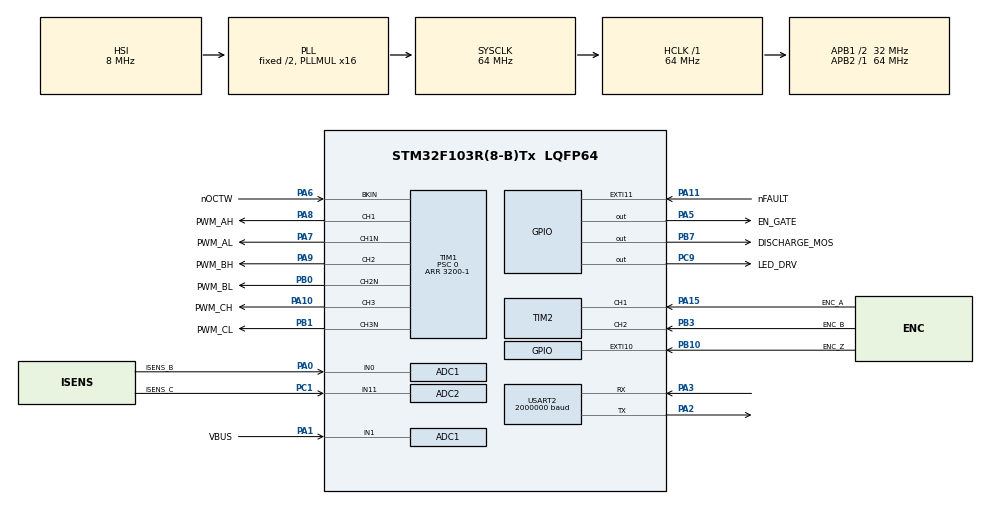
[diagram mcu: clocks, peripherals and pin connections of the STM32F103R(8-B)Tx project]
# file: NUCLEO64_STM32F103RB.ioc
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ADC1.Channel-2\#ChannelInjectedConversion=ADC_CHANNEL_0
ADC1.Channel-3\#ChannelInjectedConversion=ADC_CHANNEL_1
ADC1.ContinuousConvMode=ENABLE
ADC1.EnableInjectedConversion=ENABLE
ADC1.EnableRegularConversion=DISABLE
ADC1.ExternalTrigInjecConv=ADC_EXTERNALTRIGINJECCONV_T1_TRGO
ADC1.InjNumberOfConversion=2
ADC1.InjectedOffset-2\#ChannelInjectedConversion=0
ADC1.InjectedOffset-3\#ChannelInjectedConversion=0
ADC1.Rank-2\#ChannelInjectedConversion=1
ADC1.Rank-3\#ChannelInjectedConversion=2
ADC1.SamplingTime-2\#ChannelInjectedConversion=ADC_SAMPLETIME_7CYCLES_5
ADC1.SamplingTime-3\#ChannelInjectedConversion=ADC_SAMPLETIME_7CYCLES_5
ADC1.master=1
ADC2.Channel-1\#ChannelInjectedConversion=ADC_CHANNEL_11
ADC2.ContinuousConvMode=ENABLE
ADC2.EnableInjectedConversion=ENABLE
ADC2.EnableRegularConversion=DISABLE
ADC2.ExternalTrigInjecConv=ADC_EXTERNALTRIGINJECCONV_T1_TRGO
ADC2.InjNumberOfConversion=1
ADC2.InjectedOffset-1\#ChannelInjectedConversion=0
ADC2.Rank-1\#ChannelInjectedConversion=1
ADC2.SamplingTime-1\#ChannelInjectedConversion=ADC_SAMPLETIME_7CYCLES_5
Dma.Request0=USART2_TX
Dma.Request1=USART2_RX
Dma.USART2_RX.1.Direction=DMA_PERIPH_TO_MEMORY
Dma.USART2_RX.1.Instance=DMA1_Channel6
Dma.USART2_RX.1.MemDataAlignment=DMA_MDATAALIGN_BYTE
Dma.USART2_RX.1.MemInc=DMA_MINC_ENABLE
Dma.USART2_RX.1.Mode=DMA_NORMAL
Dma.USART2_RX.1.PeriphDataAlignment=DMA_PDATAALIGN_BYTE
Dma.USART2_RX.1.PeriphInc=DMA_PINC_DISABLE
Dma.USART2_RX.1.Priority=DMA_PRIORITY_LOW
Dma.USART2_TX.0.Direction=DMA_MEMORY_TO_PERIPH
Dma.USART2_TX.0.Instance=DMA1_Channel7
Dma.USART2_TX.0.MemDataAlignment=DMA_MDATAALIGN_BYTE
Dma.USART2_TX.0.MemInc=DMA_MINC_ENABLE
Dma.USART2_TX.0.Mode=DMA_NORMAL
Dma.USART2_TX.0.PeriphDataAlignment=DMA_PDATAALIGN_BYTE
Dma.USART2_TX.0.PeriphInc=DMA_PINC_DISABLE
Dma.USART2_TX.0.Priority=DMA_PRIORITY_LOW
Mcu.Family=STM32F1
Mcu.Name=STM32F103R(8-B)Tx
Mcu.Package=LQFP64
NVIC.ADC1_2_IRQn=true\:1\:0\:true\:false\:true\:true\:true
NVIC.DMA1_Channel6_IRQn=true\:4\:0\:true\:false\:true\:false\:true
NVIC.DMA1_Channel7_IRQn=true\:3\:0\:true\:false\:true\:false\:true
NVIC.EXTI15_10_IRQn=true\:6\:0\:true\:false\:true\:true\:true
NVIC.PriorityGroup=NVIC_PRIORITYGROUP_4
NVIC.TIM1_BRK_IRQn=true\:0\:0\:false\:false\:true\:true\:true
NVIC.USART2_IRQn=true\:5\:0\:true\:false\:true\:true\:true
PA0-WKUP.GPIO_Label=ISENS_B
PA0-WKUP.Signal=ADCx_IN0
PA1.GPIO_Label=VBUS
PA1.Signal=ADCx_IN1
PA10.GPIO_Label=PWM_CH
PA10.Signal=S_TIM1_CH3
PA11.GPIO_Label=nFAULT
PA11.GPIO_PuPd=GPIO_PULLUP
PA11.Signal=GPXTI11
PA13.Mode=Serial_Wire
PA13.Signal=SYS_JTMS-SWDIO
PA14.Mode=Serial_Wire
PA14.Signal=SYS_JTCK-SWCLK
PA15.GPIO_Label=ENC_A
PA15.Signal=S_TIM2_CH1_ETR
PA2.Mode=Asynchronous
PA2.Signal=USART2_TX
PA3.Mode=Asynchronous
PA3.Signal=USART2_RX
PA5.GPIO_Label=EN_GATE
PA5.Signal=GPIO_Output
PA6.GPIO_Label=nOCTW
PA6.GPIO_PuPd=GPIO_PULLUP
PA6.Mode=Activate-Break-Input
PA6.Signal=TIM1_BKIN
PA7.GPIO_Label=PWM_AL
PA7.Mode=PWM Generation1 CH1 CH1N
PA7.Signal=TIM1_CH1N
PA8.GPIO_Label=PWM_AH
PA8.Signal=S_TIM1_CH1
PA9.GPIO_Label=PWM_BH
PA9.Signal=S_TIM1_CH2
PB0.GPIO_Label=PWM_BL
PB0.Mode=PWM Generation2 CH2 CH2N
PB0.Signal=TIM1_CH2N
PB1.GPIO_Label=PWM_CL
PB1.Mode=PWM Generation3 CH3 CH3N
PB1.Signal=TIM1_CH3N
PB10.GPIO_Label=ENC_Z
PB10.Signal=GPXTI10
PB3.GPIO_Label=ENC_B
PB3.Signal=S_TIM2_CH2
PB7.GPIO_Label=DISCHARGE_MOS
PB7.Signal=GPIO_Output
PC1.GPIO_Label=ISENS_C
PC1.Signal=ADCx_IN11
PC9.GPIO_Label=LED_DRV
PC9.Signal=GPIO_Output
ProjectManager.HeapSize=0x200
ProjectManager.StackSize=0x400
ProjectManager.TargetToolchain=MDK-ARM V5.27
RCC.ADCPresc=RCC_ADCPCLK2_DIV6
RCC.AHBFreq_Value=64000000
RCC.APB1CLKDivider=RCC_HCLK_DIV2
RCC.APB1Freq_Value=32000000
RCC.APB1TimFreq_Value=64000000
RCC.APB2Freq_Value=64000000
RCC.APB2TimFreq_Value=64000000
RCC.HCLKFreq_Value=64000000
RCC.PLLMUL=RCC_PLL_MUL16
RCC.SYSCLKFreq_VALUE=64000000
RCC.SYSCLKSource=RCC_SYSCLKSOURCE_PLLCLK
RCC.USBFreq_Value=64000000
SH.ADCx_IN0.0=ADC1_IN0,IN0
SH.ADCx_IN1.0=ADC1_IN1,IN1
SH.ADCx_IN11.0=ADC2_IN11,IN11
SH.S_TIM1_CH1.0=TIM1_CH1,PWM Generation1 CH1 CH1N
SH.S_TIM1_CH2.0=TIM1_CH2,PWM Generation2 CH2 CH2N
SH.S_TIM1_CH3.0=TIM1_CH3,PWM Generation3 CH3 CH3N
SH.S_TIM2_CH1_ETR.0=TIM2_CH1,Encoder_Interface
SH.S_TIM2_CH2.0=TIM2_CH2,Encoder_Interface
TIM1.AutoReloadPreload=TIM_AUTORELOAD_PRELOAD_ENABLE
TIM1.BreakPolarity=TIM_BREAKPOLARITY_LOW
TIM1.Channel-PWM\ Generation1\ CH1\ CH1N=TIM_CHANNEL_1
TIM1.Channel-PWM\ Generation2\ CH2\ CH2N=TIM_CHANNEL_2
TIM1.Channel-PWM\ Generation3\ CH3\ CH3N=TIM_CHANNEL_3
TIM1.Channel-PWM\ Generation4\ No\ Output=TIM_CHANNEL_4
TIM1.CounterMode=TIM_COUNTERMODE_CENTERALIGNED1
TIM1.DeadTime=42
TIM1.OCMode_PWM-PWM\ Generation4\ No\ Output=TIM_OCMODE_PWM2
TIM1.Period=3200-1
TIM1.Prescaler=0
TIM1.Pulse-PWM\ Generation4\ No\ Output=3200-2
TIM1.RepetitionCounter=1
TIM1.TIM_MasterOutputTrigger=TIM_TRGO_OC4REF
TIM2.EncoderMode=TIM_ENCODERMODE_TI12
TIM2.IC1Filter=2
TIM2.IC2Filter=2
TIM3.Prescaler=7
USART2.BaudRate=2000000
USART2.VirtualMode=VM_ASYNC
VP_CRC_VS_CRC.Mode=CRC_Activate
VP_TIM1_VS_no_output4.Mode=PWM Generation4 No Output
VP_TIM3_VS_ClockSourceINT.Mode=Internal
board=custom

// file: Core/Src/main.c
/* USER CODE BEGIN Header */
/**
  ******************************************************************************
  * @file           : main.c
  * @brief          : Main program body
  ******************************************************************************
  * @attention
  *
  * <h2><center>&copy; Copyright (c) 2021 STMicroelectronics.
  * All rights reserved.</center></h2>
  *
  * This software component is licensed by ST under BSD 3-Clause license,
  * the "License"; You may not use this file except in compliance with the
  * License. You may obtain a copy of the License at:
  *                        opensource.org/licenses/BSD-3-Clause
  *
  ******************************************************************************
  */
/* USER CODE END Header */
#include "main.h"

/* USER CODE BEGIN Includes */
#include "bsp.h"
/* USER CODE END Includes */

ADC_HandleTypeDef hadc1;
ADC_HandleTypeDef hadc2;

CRC_HandleTypeDef hcrc;

TIM_HandleTypeDef htim1;
TIM_HandleTypeDef htim2;
TIM_HandleTypeDef htim3;

UART_HandleTypeDef huart2;
DMA_HandleTypeDef hdma_usart2_tx;
DMA_HandleTypeDef hdma_usart2_rx;

void SystemClock_Config(void);
static void MX_GPIO_Init(void);
static void MX_DMA_Init(void);
static void MX_ADC1_Init(void);
static void MX_ADC2_Init(void);
static void MX_TIM1_Init(void);
static void MX_TIM2_Init(void);
static void MX_TIM3_Init(void);
static void MX_USART2_UART_Init(void);
static void MX_CRC_Init(void);

/* USER CODE BEGIN 0 */
uint8_t aRxBuffer[100];
/* USER CODE END 0 */

int main(void)
{

  /* MCU Configuration--------------------------------------------------------*/

  /* Reset of all peripherals, Initializes the Flash interface and the Systick. */
  HAL_Init();

  /* Configure the system clock */
  SystemClock_Config();

  /* Initialize all configured peripherals */
  MX_GPIO_Init();
  MX_DMA_Init();
  MX_ADC1_Init();
  MX_ADC2_Init();
  MX_TIM1_Init();
  MX_TIM2_Init();
  MX_TIM3_Init();
  MX_USART2_UART_Init();
  MX_CRC_Init();
  /* USER CODE BEGIN 2 */
	HAL_ADCEx_Calibration_Start( &hadc1);
	HAL_ADCEx_Calibration_Start( &hadc2);
	__HAL_ADC_CLEAR_FLAG( &hadc1, ADC_FLAG_JEOC);
	__HAL_ADC_CLEAR_FLAG( &hadc2, ADC_FLAG_JEOC);
	HAL_ADCEx_InjectedStart_IT( &hadc1);
	HAL_ADCEx_InjectedStart( &hadc2);

	HAL_Delay(10);

	__HAL_TIM_CLEAR_FLAG( &htim1, TIM_FLAG_BREAK);
	HAL_TIM_Base_Start( &htim1);
	HAL_TIM_PWM_Start( &htim1, TIM_CHANNEL_4);

	__HAL_TIM_CLEAR_FLAG( &htim2, TIM_FLAG_BREAK);
	HAL_TIM_Encoder_Start( &htim2, TIM_CHANNEL_ALL);

	__HAL_TIM_CLEAR_FLAG( &htim3, TIM_FLAG_BREAK);
	HAL_TIM_Base_Start( &htim3);

	HAL_UART_Receive_DMA( &huart2, aRxBuffer, 3*2+2);
	__HAL_UART_ENABLE_IT( &huart2, UART_IT_IDLE);
	__HAL_UART_CLEAR_IDLEFLAG( &huart2);
	__HAL_UART_DISABLE_IT( &huart2, UART_IT_TC);
	__HAL_UART_CLEAR_FLAG( &huart2, UART_FLAG_TC);

	HAL_Delay(100);
  /* USER CODE END 2 */

  /* Infinite loop */
  /* USER CODE BEGIN WHILE */
  while (1)
  {

	/**********************    Fault protection    ***********************/
	if( mc_info.vbus < 10240)				// 10240 -- ufix16_en9 20.0V
	{
		mc_info.mc_err = LV_ERR;
	}
	else if( mc_info.vbus > 18432)			// 18432 -- ufix16_en9 36.0V
	{
		mc_info.mc_err = OV_ERR;
		DISCHARGE_MOS_RESET;
		mc_info.err_state_vbus = mc_info.vbus;
	}
	else if(mc_info.vbus > 15360)			// 15360 -- ufix16_en9 30.0V
	{
		DISCHARGE_MOS_SET;
	}
	else
	{
		DISCHARGE_MOS_RESET;
	}

	if( READ_NFAULT == GPIO_PIN_RESET || READ_NOCTW == GPIO_PIN_RESET)
	{
		LED_DRV_SET;
		mc_info.mc_err = DRV_ERR;
	}
	/************************      protection END     ********************/

	/********************    Get CMD from Simulink    ********************/
	if( comm[2])
	{
		mc_info.cmd = START_CMD;
	}
	else
	{
		mc_info.cmd = STOP_CMD;
	}
	mc_info.refIq = comm[0];
	if( mc_info.refIq > 5120)		// 5120 -- fi(10,1,16,9)
		mc_info.refIq = 5120;
	else if(mc_info.refIq < -5120)	// -5120 -- fi(-10,1,16,9)
		mc_info.refIq = -5120;
	mc_info.refRPM = comm[1];

	/*************************  Get CMD END   ****************************/
    /* USER CODE END WHILE */

  }
}

void SystemClock_Config(void)
{
  RCC_OscInitTypeDef RCC_OscInitStruct = {0};
  RCC_ClkInitTypeDef RCC_ClkInitStruct = {0};
  RCC_PeriphCLKInitTypeDef PeriphClkInit = {0};

  /** Initializes the RCC Oscillators according to the specified parameters
  * in the RCC_OscInitTypeDef structure.
  */
  RCC_OscInitStruct.OscillatorType = RCC_OSCILLATORTYPE_HSI;
  RCC_OscInitStruct.HSIState = RCC_HSI_ON;
  RCC_OscInitStruct.HSICalibrationValue = RCC_HSICALIBRATION_DEFAULT;
  RCC_OscInitStruct.PLL.PLLState = RCC_PLL_ON;
  RCC_OscInitStruct.PLL.PLLSource = RCC_PLLSOURCE_HSI_DIV2;
  RCC_OscInitStruct.PLL.PLLMUL = RCC_PLL_MUL16;
  if (HAL_RCC_OscConfig(&RCC_OscInitStruct) != HAL_OK)
  {
    Error_Handler();
  }
  /** Initializes the CPU, AHB and APB buses clocks
  */
  RCC_ClkInitStruct.ClockType = RCC_CLOCKTYPE_HCLK|RCC_CLOCKTYPE_SYSCLK
                              |RCC_CLOCKTYPE_PCLK1|RCC_CLOCKTYPE_PCLK2;
  RCC_ClkInitStruct.SYSCLKSource = RCC_SYSCLKSOURCE_PLLCLK;
  RCC_ClkInitStruct.AHBCLKDivider = RCC_SYSCLK_DIV1;
  RCC_ClkInitStruct.APB1CLKDivider = RCC_HCLK_DIV2;
  RCC_ClkInitStruct.APB2CLKDivider = RCC_HCLK_DIV1;

  if (HAL_RCC_ClockConfig(&RCC_ClkInitStruct, FLASH_LATENCY_2) != HAL_OK)
  {
    Error_Handler();
  }
  PeriphClkInit.PeriphClockSelection = RCC_PERIPHCLK_ADC;
  PeriphClkInit.AdcClockSelection = RCC_ADCPCLK2_DIV6;
  if (HAL_RCCEx_PeriphCLKConfig(&PeriphClkInit) != HAL_OK)
  {
    Error_Handler();
  }
}

static void MX_ADC1_Init(void)
{

  ADC_InjectionConfTypeDef sConfigInjected = {0};

  /** Common config
  */
  hadc1.Instance = ADC1;
  hadc1.Init.ScanConvMode = ADC_SCAN_ENABLE;
  hadc1.Init.ContinuousConvMode = ENABLE;
  hadc1.Init.DiscontinuousConvMode = DISABLE;
  hadc1.Init.ExternalTrigConv = ADC_SOFTWARE_START;
  hadc1.Init.DataAlign = ADC_DATAALIGN_RIGHT;
  hadc1.Init.NbrOfConversion = 1;
  if (HAL_ADC_Init(&hadc1) != HAL_OK)
  {
    Error_Handler();
  }
  /** Configure Injected Channel
  */
  sConfigInjected.InjectedChannel = ADC_CHANNEL_0;
  sConfigInjected.InjectedRank = ADC_INJECTED_RANK_1;
  sConfigInjected.InjectedNbrOfConversion = 2;
  sConfigInjected.InjectedSamplingTime = ADC_SAMPLETIME_7CYCLES_5;
  sConfigInjected.ExternalTrigInjecConv = ADC_EXTERNALTRIGINJECCONV_T1_TRGO;
  sConfigInjected.AutoInjectedConv = DISABLE;
  sConfigInjected.InjectedDiscontinuousConvMode = DISABLE;
  sConfigInjected.InjectedOffset = 0;
  if (HAL_ADCEx_InjectedConfigChannel(&hadc1, &sConfigInjected) != HAL_OK)
  {
    Error_Handler();
  }
  /** Configure Injected Channel
  */
  sConfigInjected.InjectedChannel = ADC_CHANNEL_1;
  sConfigInjected.InjectedRank = ADC_INJECTED_RANK_2;
  if (HAL_ADCEx_InjectedConfigChannel(&hadc1, &sConfigInjected) != HAL_OK)
  {
    Error_Handler();
  }

}

static void MX_ADC2_Init(void)
{

  ADC_InjectionConfTypeDef sConfigInjected = {0};

  /** Common config
  */
  hadc2.Instance = ADC2;
  hadc2.Init.ScanConvMode = ADC_SCAN_DISABLE;
  hadc2.Init.ContinuousConvMode = ENABLE;
  hadc2.Init.DiscontinuousConvMode = DISABLE;
  hadc2.Init.ExternalTrigConv = ADC_SOFTWARE_START;
  hadc2.Init.DataAlign = ADC_DATAALIGN_RIGHT;
  hadc2.Init.NbrOfConversion = 1;
  if (HAL_ADC_Init(&hadc2) != HAL_OK)
  {
    Error_Handler();
  }
  /** Configure Injected Channel
  */
  sConfigInjected.InjectedChannel = ADC_CHANNEL_11;
  sConfigInjected.InjectedRank = ADC_INJECTED_RANK_1;
  sConfigInjected.InjectedNbrOfConversion = 1;
  sConfigInjected.InjectedSamplingTime = ADC_SAMPLETIME_7CYCLES_5;
  sConfigInjected.ExternalTrigInjecConv = ADC_EXTERNALTRIGINJECCONV_T1_TRGO;
  sConfigInjected.AutoInjectedConv = DISABLE;
  sConfigInjected.InjectedDiscontinuousConvMode = DISABLE;
  sConfigInjected.InjectedOffset = 0;
  if (HAL_ADCEx_InjectedConfigChannel(&hadc2, &sConfigInjected) != HAL_OK)
  {
    Error_Handler();
  }

}

static void MX_CRC_Init(void)
{

  hcrc.Instance = CRC;
  if (HAL_CRC_Init(&hcrc) != HAL_OK)
  {
    Error_Handler();
  }

}

static void MX_TIM1_Init(void)
{

  TIM_MasterConfigTypeDef sMasterConfig = {0};
  TIM_OC_InitTypeDef sConfigOC = {0};
  TIM_BreakDeadTimeConfigTypeDef sBreakDeadTimeConfig = {0};

  htim1.Instance = TIM1;
  htim1.Init.Prescaler = 0;
  htim1.Init.CounterMode = TIM_COUNTERMODE_CENTERALIGNED1;
  htim1.Init.Period = 3200-1;
  htim1.Init.ClockDivision = TIM_CLOCKDIVISION_DIV1;
  htim1.Init.RepetitionCounter = 1;
  htim1.Init.AutoReloadPreload = TIM_AUTORELOAD_PRELOAD_ENABLE;
  if (HAL_TIM_PWM_Init(&htim1) != HAL_OK)
  {
    Error_Handler();
  }
  sMasterConfig.MasterOutputTrigger = TIM_TRGO_OC4REF;
  sMasterConfig.MasterSlaveMode = TIM_MASTERSLAVEMODE_DISABLE;
  if (HAL_TIMEx_MasterConfigSynchronization(&htim1, &sMasterConfig) != HAL_OK)
  {
    Error_Handler();
  }
  sConfigOC.OCMode = TIM_OCMODE_PWM1;
  sConfigOC.Pulse = 0;
  sConfigOC.OCPolarity = TIM_OCPOLARITY_HIGH;
  sConfigOC.OCNPolarity = TIM_OCNPOLARITY_HIGH;
  sConfigOC.OCFastMode = TIM_OCFAST_DISABLE;
  sConfigOC.OCIdleState = TIM_OCIDLESTATE_RESET;
  sConfigOC.OCNIdleState = TIM_OCNIDLESTATE_RESET;
  if (HAL_TIM_PWM_ConfigChannel(&htim1, &sConfigOC, TIM_CHANNEL_1) != HAL_OK)
  {
    Error_Handler();
  }
  if (HAL_TIM_PWM_ConfigChannel(&htim1, &sConfigOC, TIM_CHANNEL_2) != HAL_OK)
  {
    Error_Handler();
  }
  if (HAL_TIM_PWM_ConfigChannel(&htim1, &sConfigOC, TIM_CHANNEL_3) != HAL_OK)
  {
    Error_Handler();
  }
  sConfigOC.OCMode = TIM_OCMODE_PWM2;
  sConfigOC.Pulse = 3200-2;
  if (HAL_TIM_PWM_ConfigChannel(&htim1, &sConfigOC, TIM_CHANNEL_4) != HAL_OK)
  {
    Error_Handler();
  }
  sBreakDeadTimeConfig.OffStateRunMode = TIM_OSSR_DISABLE;
  sBreakDeadTimeConfig.OffStateIDLEMode = TIM_OSSI_DISABLE;
  sBreakDeadTimeConfig.LockLevel = TIM_LOCKLEVEL_OFF;
  sBreakDeadTimeConfig.DeadTime = 42;
  sBreakDeadTimeConfig.BreakState = TIM_BREAK_ENABLE;
  sBreakDeadTimeConfig.BreakPolarity = TIM_BREAKPOLARITY_LOW;
  sBreakDeadTimeConfig.AutomaticOutput = TIM_AUTOMATICOUTPUT_DISABLE;
  if (HAL_TIMEx_ConfigBreakDeadTime(&htim1, &sBreakDeadTimeConfig) != HAL_OK)
  {
    Error_Handler();
  }
  HAL_TIM_MspPostInit(&htim1);

}

static void MX_TIM2_Init(void)
{

  TIM_Encoder_InitTypeDef sConfig = {0};
  TIM_MasterConfigTypeDef sMasterConfig = {0};

  htim2.Instance = TIM2;
  htim2.Init.Prescaler = 0;
  htim2.Init.CounterMode = TIM_COUNTERMODE_UP;
  htim2.Init.Period = 65535;
  htim2.Init.ClockDivision = TIM_CLOCKDIVISION_DIV1;
  htim2.Init.AutoReloadPreload = TIM_AUTORELOAD_PRELOAD_DISABLE;
  sConfig.EncoderMode = TIM_ENCODERMODE_TI12;
  sConfig.IC1Polarity = TIM_ICPOLARITY_RISING;
  sConfig.IC1Selection = TIM_ICSELECTION_DIRECTTI;
  sConfig.IC1Prescaler = TIM_ICPSC_DIV1;
  sConfig.IC1Filter = 2;
  sConfig.IC2Polarity = TIM_ICPOLARITY_RISING;
  sConfig.IC2Selection = TIM_ICSELECTION_DIRECTTI;
  sConfig.IC2Prescaler = TIM_ICPSC_DIV1;
  sConfig.IC2Filter = 2;
  if (HAL_TIM_Encoder_Init(&htim2, &sConfig) != HAL_OK)
  {
    Error_Handler();
  }
  sMasterConfig.MasterOutputTrigger = TIM_TRGO_RESET;
  sMasterConfig.MasterSlaveMode = TIM_MASTERSLAVEMODE_DISABLE;
  if (HAL_TIMEx_MasterConfigSynchronization(&htim2, &sMasterConfig) != HAL_OK)
  {
    Error_Handler();
  }

}

static void MX_TIM3_Init(void)
{

  TIM_ClockConfigTypeDef sClockSourceConfig = {0};
  TIM_MasterConfigTypeDef sMasterConfig = {0};

  htim3.Instance = TIM3;
  htim3.Init.Prescaler = 7;
  htim3.Init.CounterMode = TIM_COUNTERMODE_UP;
  htim3.Init.Period = 65535;
  htim3.Init.ClockDivision = TIM_CLOCKDIVISION_DIV1;
  htim3.Init.AutoReloadPreload = TIM_AUTORELOAD_PRELOAD_DISABLE;
  if (HAL_TIM_Base_Init(&htim3) != HAL_OK)
  {
    Error_Handler();
  }
  sClockSourceConfig.ClockSource = TIM_CLOCKSOURCE_INTERNAL;
  if (HAL_TIM_ConfigClockSource(&htim3, &sClockSourceConfig) != HAL_OK)
  {
    Error_Handler();
  }
  sMasterConfig.MasterOutputTrigger = TIM_TRGO_RESET;
  sMasterConfig.MasterSlaveMode = TIM_MASTERSLAVEMODE_DISABLE;
  if (HAL_TIMEx_MasterConfigSynchronization(&htim3, &sMasterConfig) != HAL_OK)
  {
    Error_Handler();
  }

}

static void MX_USART2_UART_Init(void)
{

  huart2.Instance = USART2;
  huart2.Init.BaudRate = 2000000;
  huart2.Init.WordLength = UART_WORDLENGTH_8B;
  huart2.Init.StopBits = UART_STOPBITS_1;
  huart2.Init.Parity = UART_PARITY_NONE;
  huart2.Init.Mode = UART_MODE_TX_RX;
  huart2.Init.HwFlowCtl = UART_HWCONTROL_NONE;
  huart2.Init.OverSampling = UART_OVERSAMPLING_16;
  if (HAL_UART_Init(&huart2) != HAL_OK)
  {
    Error_Handler();
  }

}

static void MX_DMA_Init(void)
{

  /* DMA controller clock enable */
  __HAL_RCC_DMA1_CLK_ENABLE();

  /* DMA interrupt init */
  /* DMA1_Channel6_IRQn interrupt configuration */
  HAL_NVIC_SetPriority(DMA1_Channel6_IRQn, 4, 0);
  HAL_NVIC_EnableIRQ(DMA1_Channel6_IRQn);
  /* DMA1_Channel7_IRQn interrupt configuration */
  HAL_NVIC_SetPriority(DMA1_Channel7_IRQn, 3, 0);
  HAL_NVIC_EnableIRQ(DMA1_Channel7_IRQn);

}

static void MX_GPIO_Init(void)
{
  GPIO_InitTypeDef GPIO_InitStruct = {0};

  /* GPIO Ports Clock Enable */
  __HAL_RCC_GPIOC_CLK_ENABLE();
  __HAL_RCC_GPIOA_CLK_ENABLE();
  __HAL_RCC_GPIOB_CLK_ENABLE();

  /*Configure GPIO pin Output Level */
  HAL_GPIO_WritePin(EN_GATE_GPIO_Port, EN_GATE_Pin, GPIO_PIN_RESET);

  /*Configure GPIO pin Output Level */
  HAL_GPIO_WritePin(LED_DRV_GPIO_Port, LED_DRV_Pin, GPIO_PIN_RESET);

  /*Configure GPIO pin Output Level */
  HAL_GPIO_WritePin(DISCHARGE_MOS_GPIO_Port, DISCHARGE_MOS_Pin, GPIO_PIN_RESET);

  /*Configure GPIO pin : EN_GATE_Pin */
  GPIO_InitStruct.Pin = EN_GATE_Pin;
  GPIO_InitStruct.Mode = GPIO_MODE_OUTPUT_PP;
  GPIO_InitStruct.Pull = GPIO_NOPULL;
  GPIO_InitStruct.Speed = GPIO_SPEED_FREQ_LOW;
  HAL_GPIO_Init(EN_GATE_GPIO_Port, &GPIO_InitStruct);

  /*Configure GPIO pin : ENC_Z_Pin */
  GPIO_InitStruct.Pin = ENC_Z_Pin;
  GPIO_InitStruct.Mode = GPIO_MODE_IT_RISING;
  GPIO_InitStruct.Pull = GPIO_NOPULL;
  HAL_GPIO_Init(ENC_Z_GPIO_Port, &GPIO_InitStruct);

  /*Configure GPIO pin : LED_DRV_Pin */
  GPIO_InitStruct.Pin = LED_DRV_Pin;
  GPIO_InitStruct.Mode = GPIO_MODE_OUTPUT_PP;
  GPIO_InitStruct.Pull = GPIO_NOPULL;
  GPIO_InitStruct.Speed = GPIO_SPEED_FREQ_LOW;
  HAL_GPIO_Init(LED_DRV_GPIO_Port, &GPIO_InitStruct);

  /*Configure GPIO pin : nFAULT_Pin */
  GPIO_InitStruct.Pin = nFAULT_Pin;
  GPIO_InitStruct.Mode = GPIO_MODE_IT_RISING;
  GPIO_InitStruct.Pull = GPIO_PULLUP;
  HAL_GPIO_Init(nFAULT_GPIO_Port, &GPIO_InitStruct);

  /*Configure GPIO pin : DISCHARGE_MOS_Pin */
  GPIO_InitStruct.Pin = DISCHARGE_MOS_Pin;
  GPIO_InitStruct.Mode = GPIO_MODE_OUTPUT_PP;
  GPIO_InitStruct.Pull = GPIO_NOPULL;
  GPIO_InitStruct.Speed = GPIO_SPEED_FREQ_LOW;
  HAL_GPIO_Init(DISCHARGE_MOS_GPIO_Port, &GPIO_InitStruct);

  /* EXTI interrupt init*/
  HAL_NVIC_SetPriority(EXTI15_10_IRQn, 6, 0);
  HAL_NVIC_EnableIRQ(EXTI15_10_IRQn);

}

void Error_Handler(void)
{
}

/************************ (C) COPYRIGHT STMicroelectronics *****END OF FILE****/
